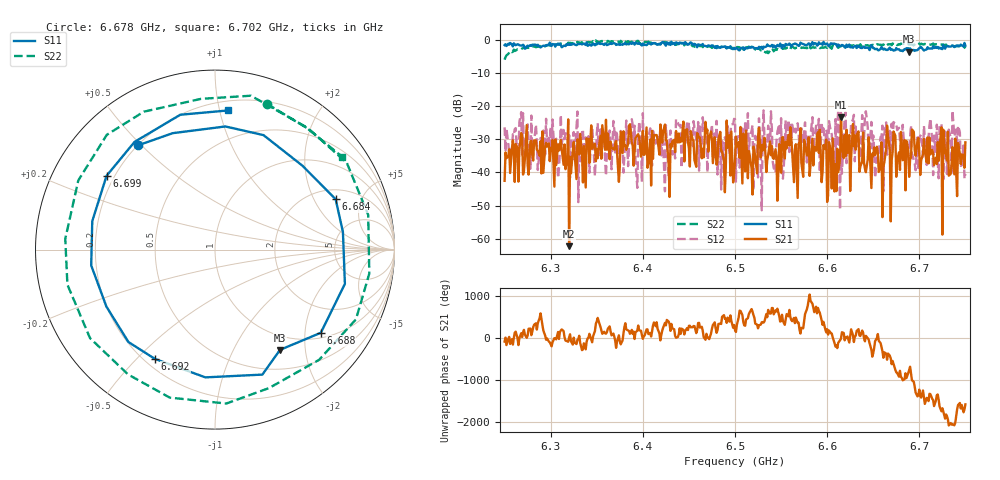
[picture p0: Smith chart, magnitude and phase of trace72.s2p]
# Hz S RI R 50
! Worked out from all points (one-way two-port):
!   401 points, 6.25 GHz to 6.75 GHz, reference 50 ohm
!   highest |S21| = -23.40 dB at 6.615 GHz (marker M1); lowest = -62.3 dB at 6.32 GHz (marker M2)
!   lowest |S11| = -3.5 dB at 6.689 GHz (marker M3), VSWR 4.98, Z = 38.7 - j77.7 ohm
!   |S11| at or under -10 dB: nowhere
!   |S22| runs from -5.9 to -0.2 dB; largest |S21 - S12| = 0.15
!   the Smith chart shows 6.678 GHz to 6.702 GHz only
!   S11 on the Smith chart (normalised r, x): 6.678 GHz: 0.20, +0.49; 6.684 GHz: 2.52, +3.01; 6.688 GHz: 1.14, -2.42; 6.692 GHz: 0.24, -0.57; 6.699 GHz: 0.17, +0.30; 6.702 GHz: 0.27, +1.06
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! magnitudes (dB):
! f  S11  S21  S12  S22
! 6.25 GHz  -1.6  -42.5  -26.4  -5.9
! 6.31 GHz  -1.1  -32.2  -33.5  -1.3
! 6.32 GHz  -1.5  -62.3  -28.8  -0.9
! 6.334 GHz  -1.4  -34.6  -27.9  -0.7
! 6.418 GHz  -1.1  -34.6  -31.4  -1.3
! 6.5 GHz  -2.8  -36.6  -23.9  -2.3
! 6.526 GHz  -2.1  -26.5  -23.7  -2.6
! 6.538 GHz  -1.9  -30.7  -32.5  -3.3
! 6.544 GHz  -2.3  -33.0  -40.1  -2.8
! 6.584 GHz  -0.7  -29.8  -23.3  -2.2
! 6.615 GHz  -1.9  -23.4  -21.9  -1.9
! 6.668 GHz  -2.3  -33.2  -27.4  -1.3
! 6.678 GHz  -2.8  -33.9  -26.5  -1.3
! 6.684 GHz  -2.8  -30.2  -33.5  -1.1
! 6.688 GHz  -2.5  -33.1  -35.0  -1.3
! 6.689 GHz  -3.5  -41.3  -32.4  -1.3
! 6.692 GHz  -3.2  -27.0  -34.2  -1.5
! 6.699 GHz  -2.7  -29.6  -39.4  -1.5
! 6.702 GHz  -2.2  -36.4  -28.5  -1.1
! 6.729 GHz  -2.0  -34.7  -32.5  -1.4
! 6.739 GHz  -2.0  -29.8  -27.9  -1.9
! 6.75 GHz  -1.7  -30.9  -40.5  -2.5
